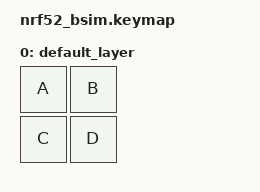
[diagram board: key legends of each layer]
/*
 * Copyright (c) 2026 amgskobo
 * SPDX-License-Identifier: MIT
 *
 * Strokes from a pointing device on the peripheral cross the split link and
 * reach inertia on the central. A fast stroke glides after it stops, one
 * decayed report per interval until it dies out; a new stroke cuts a glide
 * short; a slow one does not glide; a scroll glides at its own interval; and
 * a pointer frame stops a scroll glide. Timestamps are kept: the gaps are
 * what inertia is about, and a simulation repeats them exactly.
 */

#include <behaviors.dtsi>
#include <dt-bindings/zmk/keys.h>

#include "shared.dtsi"

&kscan {
    /delete-property/ exit-after;
    events = <>;
};

&split_listener {
    status = "okay";
};

/ {
    keymap {
        compatible = "zmk,keymap";

        default_layer {
            bindings = <
            &kp A &kp B
            &kp C &kp D>;
        };
    };
};
